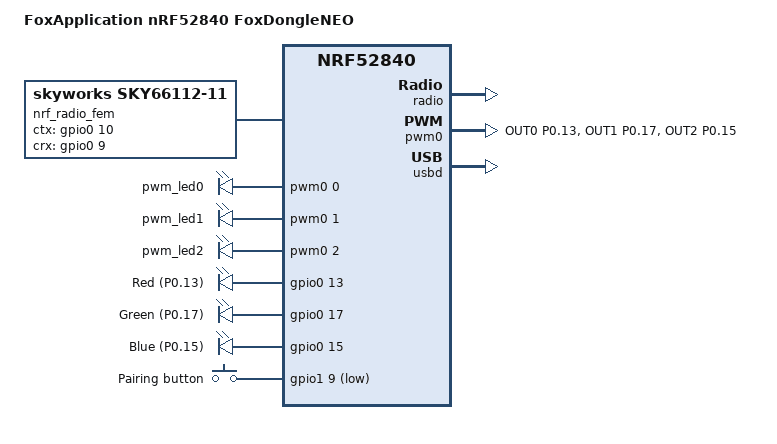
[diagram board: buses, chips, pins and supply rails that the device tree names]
// Copyright (c) 2024 Nordic Semiconductor ASA
// SPDX-License-Identifier: Apache-2.0

/dts-v1/;
#include <nordic/nrf52840_qiaa.dtsi>
#include <zephyr/dt-bindings/input/input-event-codes.h>

&pinctrl {
	pwm0_default: pwm0_default {
		group1 {
			psels = <NRF_PSEL(PWM_OUT0, 0, 13)>,
				<NRF_PSEL(PWM_OUT1, 0, 17)>,
				<NRF_PSEL(PWM_OUT2, 0, 15)>;
			nordic,drive-mode = <NRF_DRIVE_D0S1>;
		};
	};

	pwm0_sleep: pwm0_sleep {
		group1 {
			psels = <NRF_PSEL(PWM_OUT0, 0, 13)>,
				<NRF_PSEL(PWM_OUT1, 0, 17)>,
				<NRF_PSEL(PWM_OUT2, 0, 15)>;
			low-power-enable;
		};
	};
};

/ {
	model = "FoxApplication nRF52840 FoxDongleNEO";
	compatible = "foxapplication,foxdongleneo";

	chosen {
		zephyr,console = &cdc_acm_uart;
		zephyr,shell-uart = &cdc_acm_uart;
		zephyr,uart-mcumgr = &cdc_acm_uart;
		zephyr,sram = &sram0;
		zephyr,flash = &flash0;
	};

	nrf_radio_fem: radio-fem {
		compatible = "skyworks,sky66112-11", "radio-fem-two-ctrl-pins";
		ctx-gpios = <&gpio0 10 GPIO_ACTIVE_HIGH>;
		ctx-settle-time-us = <23>;
		crx-gpios = <&gpio0 9 GPIO_ACTIVE_HIGH>;
		crx-settle-time-us = <8>;
		tx-gain-db = <22>;
		rx-gain-db = <12>;
	};

	pwmleds {
		compatible = "pwm-leds";
		pwm_led0: pwm_led_0 {
			pwms = <&pwm0 0 PWM_MSEC(1) PWM_POLARITY_NORMAL>;
		};
		pwm_led1: pwm_led_1 {
			pwms = <&pwm0 1 PWM_MSEC(1) PWM_POLARITY_NORMAL>;
		};
		pwm_led2: pwm_led_2 {
			pwms = <&pwm0 2 PWM_MSEC(1) PWM_POLARITY_NORMAL>;
		};
	};

	leds {
		compatible = "gpio-leds";
		led0: led_0 {
			gpios = <&gpio0 13 GPIO_ACTIVE_HIGH>;
			label = "Red (P0.13)";
		};
		led1: led_1 {
			gpios = <&gpio0 17 GPIO_ACTIVE_HIGH>;
			label = "Green (P0.17)";
		};
		led2: led_2 {
			gpios = <&gpio0 15 GPIO_ACTIVE_HIGH>;
			label = "Blue (P0.15)";
		};
	};

	buttons {
		compatible = "gpio-keys";
		button0: button_0 {
			gpios = <&gpio1 9 (GPIO_PULL_UP | GPIO_ACTIVE_LOW)>;
			label = "Pairing button";
			zephyr,code = <INPUT_KEY_0>;
		};
	};

	aliases {
		sw0 = &button0;
		pwm-led0 = &pwm_led0;
		pwm-led1 = &pwm_led1;
		pwm-led2 = &pwm_led2;
		led0 = &led0;
		led1 = &led1;
		led2 = &led2;
		watchdog0 = &wdt0;
	};
};

&reg0 {
	status = "disabled";
};

&reg1 {
	regulator-initial-mode = <NRF5X_REG_MODE_LDO>;
};

&radio {
	fem = <&nrf_radio_fem>;
};

&gpio0 {
	status = "okay";
};

&gpio1 {
	status = "okay";
};

&gpiote {
	status = "okay";
};

&uicr {
	nfct-pins-as-gpios;
	gpio-as-nreset;
};

&pwm0 {
	status = "okay";
	pinctrl-0 = <&pwm0_default>;
	pinctrl-1 = <&pwm0_sleep>;
	pinctrl-names = "default", "sleep";
};

zephyr_udc0: &usbd {
	compatible = "nordic,nrf-usbd";
	status = "okay";

	cdc_acm_uart: cdc_acm_uart {
		compatible = "zephyr,cdc-acm-uart";
	};
};

&cryptocell {
	status = "disabled";
};

&nfct {
	status = "disabled";
};
